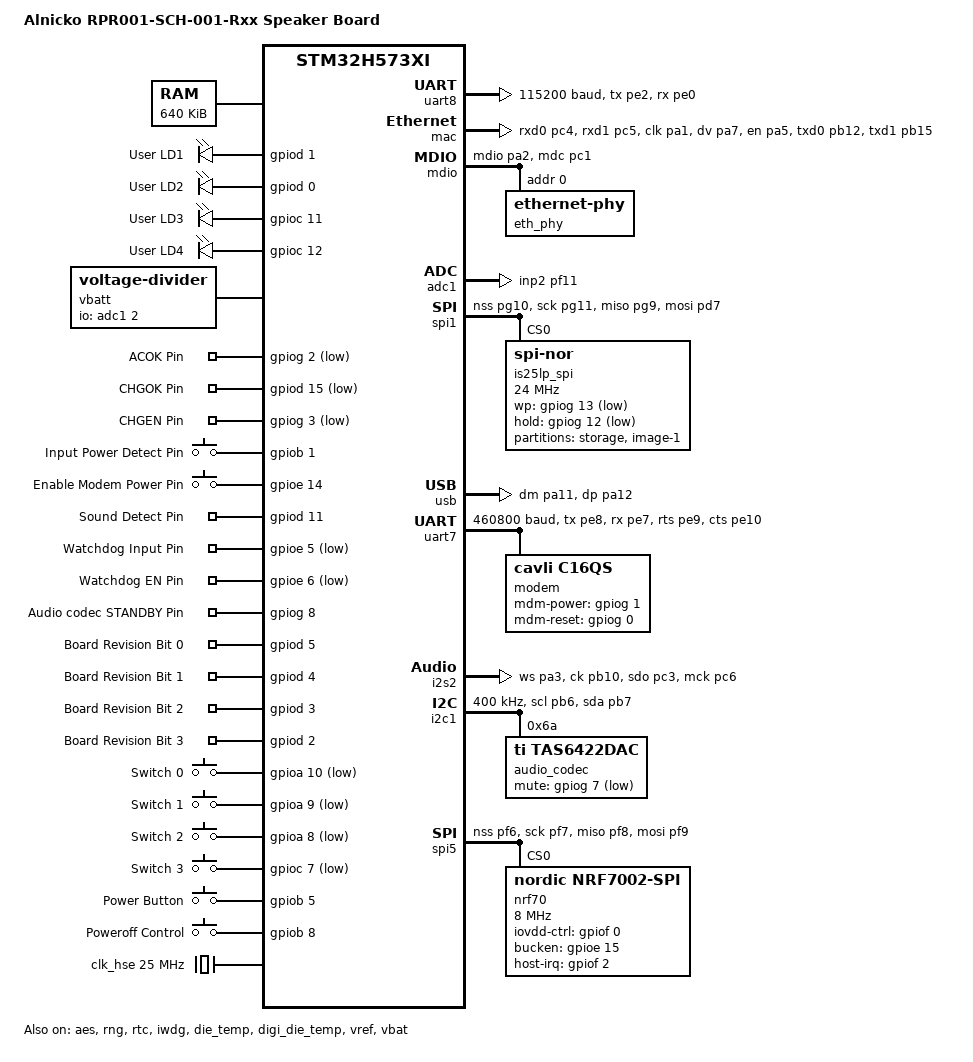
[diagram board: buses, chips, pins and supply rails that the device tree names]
/dts-v1/;
#include <st/h5/stm32h573Xi.dtsi> //STM32H573ZIT6
#include <zephyr/dt-bindings/input/input-event-codes.h>
#include <zephyr/dt-bindings/memory-attr/memory-attr.h>
#include <zephyr/dt-bindings/memory-attr/memory-attr-arm.h>

#include "stm32h573zitx-pinctrl.dtsi"

/ {
	model = "Alnicko RPR001-SCH-001-Rxx Speaker Board";
	compatible = "alnicko,speaker";

	/delete-node/ memory@20000000;
    /delete-node/ memory@20040000;
    /delete-node/ memory@20050000;

    sram: memory@20000000 {
			compatible = "zephyr,memory-region", "mmio-sram";
			reg = <0x20000000 DT_SIZE_K(640)>;
			zephyr,memory-region = "SRAM";
	};

	chosen {
		zephyr,console = &uart8;
		zephyr,shell-uart = &uart8;
		zephyr,sram = &sram;
		zephyr,flash = &flash0;
		zephyr,code-partition = &slot0_partition;
	};

	leds {
		compatible = "gpio-leds";
		led_1: led_1 {
			gpios = <&gpiod 1 GPIO_ACTIVE_HIGH>; //PD1
			label = "User LD1";
		};
		led_2: led_2 {
			gpios = <&gpiod 0 GPIO_ACTIVE_HIGH>; //PD0
			label = "User LD2";
		};
		led_3: led_3 {
			gpios = <&gpioc 11 GPIO_ACTIVE_HIGH>; //PC11
			label = "User LD3";
		};
		led_4: led_4 {
			gpios = <&gpioc 12 GPIO_ACTIVE_HIGH>; //PC12
			label = "User LD4";
		};
	};

	aliases { //leds
		led0 = &led_1;
		led1 = &led_2;
		led2 = &led_3;
		led3 = &led_4;
	}; 


	aliases {
		watchdog0 = &iwdg;
		die-temp0 = &die_temp;
		die-temp1 = &digi_die_temp;
		volt-sensor0 = &vref;
		volt-sensor1 = &vbat;
	};
};

&clk_hsi48 {
	status = "okay";
};

&clk_lse {
	status = "okay";
};

&clk_hse {
	clock-frequency = <DT_FREQ_M(25)>;
	status = "okay";
};

&pll {
	div-m = <5>;
	mul-n = <96>;
	div-p = <2>;
	div-q = <6>;
	div-r = <2>;
	clocks = <&clk_hse>;
	status = "okay";
};

&rcc {
	clocks = <&pll>;
	clock-frequency = <DT_FREQ_M(240)>;
	ahb-prescaler = <1>;
	apb1-prescaler = <2>;
	apb2-prescaler = <1>;
	apb3-prescaler = <1>;
};

&uart8 { //shell-uart
	pinctrl-0 = <&uart8_tx_pe2 &uart8_rx_pe0>;
	pinctrl-names = "default";
	current-speed = <115200>;
	status = "okay";
};

&aes {
	status = "okay";
};

&rng {
	status = "okay";
};

&mac {
	status = "okay";
	pinctrl-0 = <&eth_rxd0_pc4
		     &eth_rxd1_pc5
		     &eth_ref_clk_pa1
		     &eth_crs_dv_pa7
		     &eth_tx_en_pa5
		     &eth_txd0_pb12
		     &eth_txd1_pb15>;
		     pinctrl-names = "default";
};

&mdio {
	status = "okay";
	pinctrl-0 = <&eth_mdio_pa2 &eth_mdc_pc1>;
	pinctrl-names = "default";

	eth_phy: ethernet-phy@0 {
		compatible = "ethernet-phy";
		reg = <0x00>;
		status = "okay";
	};
};

&flash0 {
    partitions {
        compatible = "fixed-partitions";
        #address-cells = <1>;
        #size-cells = <1>;

        boot_partition: partition@0 {
            label = "mcuboot";
            reg = <0x00000000 DT_SIZE_K(64)>;
        };

        slot0_partition: partition@10000 {
            label = "image-0";
            reg = <0x00010000 DT_SIZE_K(1984)>; // 2048K - 64K
        };
    };
};

&rtc {
	clocks = <&rcc STM32_CLOCK_BUS_APB3 0x00200000>,
		 <&rcc STM32_SRC_LSE RTC_SEL(1)>;
	status = "okay";
};

/ {
	aliases {
		rtc = &rtc;
	};
};

&iwdg {
	status = "okay";
};

&gpdma1 {
	status = "okay";
};

&gpdma2 {
	status = "okay";
};

&adc1 {
	clocks = <&rcc STM32_CLOCK_BUS_AHB2 0x00000400>,
	         <&rcc STM32_SRC_HCLK ADCDAC_SEL(0)>;
	pinctrl-0 = <&adc1_inp2_pf11>;
	pinctrl-names = "default";
	st,adc-clock-source = <2>;
	st,adc-clock-source = <ASYNC>;
	st,adc-prescaler = <6>;
	status = "okay";
	vref-mv = <3180>;
};

&spi1 { //SPI Flash 
	pinctrl-0 = <&spi1_nss_pg10  &spi1_sck_pg11
		     &spi1_miso_pg9 &spi1_mosi_pd7>;
	pinctrl-names = "default";
	status = "okay";

	is25lp_spi: spi-nor-flash@0 {
		compatible = "jedec,spi-nor";
		reg = <0>;
		wp-gpios = <&gpiog 13 GPIO_ACTIVE_LOW>;
		hold-gpios = <&gpiog 12 GPIO_ACTIVE_LOW>;
		spi-max-frequency = <24000000>;
		size = <DT_SIZE_M(32)>; /* 32 Mbits */
		status = "okay";
		jedec-id = [9D 60 16];
		has-dpd;
		t-enter-dpd = <3000>;
		t-exit-dpd = <3000>;

		partitions {
            compatible = "fixed-partitions";
            #address-cells = <1>;
            #size-cells = <1>;

			storage_partition: partition@0 {
				label = "storage";
				reg = <0x00000000 DT_SIZE_K(2112)>; // 2048K + 64K
			};

			slot1_partition: partition@210000 {
				label = "image-1";
				reg = <0x00210000 DT_SIZE_K(1984)>; // 2048K - 64K
			};
        };
	};
};

zephyr_udc0: &usb {
	pinctrl-0 = <&usb_dm_pa11 &usb_dp_pa12>;
	pinctrl-names = "default";
	status = "okay";
};

&die_temp {
	status = "okay";
};

&digi_die_temp {
	status = "okay";
};

&vref {
	status = "okay";
};

&vbat {
	status = "okay";
};

/ {
	vbatt {
		compatible = "voltage-divider";
		io-channels = <&adc1 2>; //adc1_inp2_pf11
		output-ohms = <10000>;
		full-ohms = <(68000 + 10000)>;
	};
};

/  {
	charger_pins: charger_pins {
		compatible = "gpio-keys";

		acok_gpios: acok_gpios {
			gpios = <&gpiog 2 (GPIO_ACTIVE_LOW)>; //PG2
			label = "ACOK Pin";
		};

		chgok_gpios: chgok_gpios {
			gpios = <&gpiod 15 (GPIO_ACTIVE_LOW)>; //PD15
			label = "CHGOK Pin";
		};
		chgen_gpios: chgen_gpios {
			gpios = <&gpiog 3 (GPIO_ACTIVE_LOW)>; //PG3
			label = "CHGEN Pin";
		};
		input_power_gpios: input_power_gpios {
			gpios = <&gpiob 1 (GPIO_ACTIVE_HIGH)>; //PB1
			label = "Input Power Detect Pin";
		};
	};

	aliases { // charger_pins
		acok = &acok_gpios;
		chgok = &chgok_gpios;
		chgen = &chgen_gpios;
		inputp = &input_power_gpios;
	};
};

&uart7 {
	pinctrl-names = "default";
	status = "okay";
	
	current-speed = <460800>;
	hw-flow-control;
	pinctrl-0 = <&uart7_tx_pe8
				&uart7_rx_pe7
				&uart7_rts_pe9
				&uart7_cts_pe10>;

	modem: modem {
		compatible = "cavli,c16qs";
		status = "okay";
		mdm-power-gpios = <&gpiog 1 GPIO_ACTIVE_HIGH>; //PG1
		mdm-reset-gpios = <&gpiog 0 GPIO_ACTIVE_HIGH>; //PG0
	};
};

/ {
	modem_en_pin: modem_en_pin {
		compatible = "gpio-keys";

		modem_en_gpio: modem_en_gpio {
			gpios = <&gpioe 14 (GPIO_ACTIVE_HIGH)>; //PE14
			label = "Enable Modem Power Pin";
		};
	};
	aliases {
		modem = &modem;
		modemen = &modem_en_gpio;
	};
};

/  {
	microphone_pin: microphone_pin {
		compatible = "gpio-keys";

		microphone_gpio: microphone_gpio {
			gpios = <&gpiod 11 (GPIO_ACTIVE_HIGH)>; //PD11
			label = "Sound Detect Pin";
		};
	};

	aliases { // microphone_pin
		microphone = &microphone_gpio;
	};
};

/  {
	watchdog_pins: watchdog_pins {
		compatible = "gpio-keys";

		wdi_gpios: wdi_gpios {
			gpios = <&gpioe 5 (GPIO_ACTIVE_LOW)>; //PE5
			label = "Watchdog Input Pin";
		};

		wden_gpios: wden_gpios {
			gpios = <&gpioe 6 (GPIO_ACTIVE_LOW)>; //PE6

			label = "Watchdog EN Pin";
		};
	};

	aliases { //watchdog_pins
		wdi = &wdi_gpios;
		wden = &wden_gpios;
	};
};

&pll3 {
	div-m = <20>;
	mul-n = <147>;
	div-q = <3>;
	
	div-r = <3>;
	div-p = <3>;

	fracn = <0>;

	clocks = <&clk_hse>;
	status = "okay";
};

&i2s2 {
    mck-enabled;
    pinctrl-0 = <&i2s2_ws_pa3 &i2s2_ck_pb10 &i2s2_sdo_pc3 &i2s2_mck_pc6>;
    pinctrl-names = "default";
    status = "okay";
	clocks = <&rcc STM32_CLOCK(APB1, 14U)>,
             <&rcc STM32_SRC_PLL3_P SPI2_SEL(2)>;
};

/ {
    aliases {
        i2s-codec-tx = &i2s2;
    };
};

&i2c1 {
	pinctrl-0 = <&i2c1_scl_pb6 &i2c1_sda_pb7>;
	pinctrl-names = "default";
	clock-frequency = <I2C_BITRATE_FAST>;
	status = "okay";

	audio_codec: tas6422dac@6a {
        compatible = "ti,tas6422dac";
        reg = <0x6a>;
        mute-gpios = <&gpiog 7 GPIO_ACTIVE_LOW>; //PG7
		status = "okay";
    };
};

/  {
	audio_codec_gpio: audio_codec_gpio {
		compatible = "gpio-keys";

		codec_standby_gpios: codec_standby_gpios {
			gpios = <&gpiog 8 (GPIO_ACTIVE_HIGH)>; //PG8
			label = "Audio codec STANDBY Pin";
		};
	};

	aliases { //audio_codec_gpio
		codec-standby-pin = &codec_standby_gpios;
	};
};

/ {
	board_rev_pins: board_rev_pins {
		compatible = "gpio-keys";

		rev0_gpio: rev0_gpio {
			gpios = <&gpiod 5 (GPIO_PULL_DOWN | GPIO_ACTIVE_HIGH)>; // PD5
			label = "Board Revision Bit 0";
		};

		rev1_gpio: rev1_gpio {
			gpios = <&gpiod 4 (GPIO_PULL_DOWN | GPIO_ACTIVE_HIGH)>; // PD4
			label = "Board Revision Bit 1";
		};

		rev2_gpio: rev2_gpio {
			gpios = <&gpiod 3 (GPIO_PULL_DOWN | GPIO_ACTIVE_HIGH)>; // PD3
			label = "Board Revision Bit 2";
		};

		rev3_gpio: rev3_gpio {
			gpios = <&gpiod 2 (GPIO_PULL_DOWN | GPIO_ACTIVE_HIGH)>; // PD2
			label = "Board Revision Bit 3";
		};
	};

	aliases { //board_rev_pins
		rev0 = &rev0_gpio;
		rev1 = &rev1_gpio;
		rev2 = &rev2_gpio;
		rev3 = &rev3_gpio;
	};
};


/ {
	switches: switches {
		compatible = "gpio-keys";

		switch0: switch0 {
			gpios = <&gpioa 10 (GPIO_PULL_UP | GPIO_ACTIVE_LOW)>; //PA10
			label = "Switch 0";
		};
		switch1: switch1 {
			gpios = <&gpioa 9 (GPIO_PULL_UP | GPIO_ACTIVE_LOW)>; //PA9
			label = "Switch 1";
		};
		switch2: switch2 {
			gpios = <&gpioa 8 (GPIO_PULL_UP | GPIO_ACTIVE_LOW)>; //PA8
			label = "Switch 2";
		};
		switch3: switch3 {
			gpios = <&gpioc 7 (GPIO_PULL_UP | GPIO_ACTIVE_LOW)>; //PC7
			label = "Switch 3";
		};
	};

	aliases { //switches
		switch0 = &switch0;
		switch1 = &switch1;
		switch2 = &switch2;
		switch3 = &switch3;
	};
};

/ {
	power_sw: power_sw {
		compatible = "gpio-keys";
		power_sw_gpio: power_sw_gpio {
			gpios = <&gpiob 5 GPIO_ACTIVE_HIGH>; //PB5
			label = "Power Button";
		};

		poweroff_bt_gpio: poweroff_bt_gpio {

			gpios = <&gpiob 8 GPIO_ACTIVE_HIGH>; //PB8
			label = "Poweroff Control";
		};
	};


	aliases { //power
		power-sw = &power_sw_gpio;
		poweroff-gpio = &poweroff_bt_gpio;
	};
};

/ {
  chosen {
    zephyr,wifi = &nrf70_wlan;
  };
};

&spi5 { //SPI wifi 
	pinctrl-0 = <&spi5_nss_pf6  &spi5_sck_pf7
		     &spi5_miso_pf8 &spi5_mosi_pf9>;
	pinctrl-names = "default";
	status = "okay";
	nrf70: nrf7002@0 {
		compatible = "nordic,nrf7002-spi";
		status = "okay";
		reg = <0>;
		spi-max-frequency = <DT_FREQ_M(8)>;

		iovdd-ctrl-gpios = <&gpiof 0 GPIO_ACTIVE_HIGH>;
		bucken-gpios = <&gpioe 15 GPIO_ACTIVE_HIGH>;
		host-irq-gpios = <&gpiof 2 GPIO_ACTIVE_HIGH>;

		wifi-max-tx-pwr-2g-dsss = <21>;
		wifi-max-tx-pwr-2g-mcs0 = <16>;
		wifi-max-tx-pwr-2g-mcs7 = <16>;

		wifi-max-tx-pwr-5g-low-mcs0 = <9>;
		wifi-max-tx-pwr-5g-low-mcs7 = <9>;
		wifi-max-tx-pwr-5g-mid-mcs0 = <11>;
		wifi-max-tx-pwr-5g-mid-mcs7 = <11>;
		wifi-max-tx-pwr-5g-high-mcs0 = <13>;
		wifi-max-tx-pwr-5g-high-mcs7 = <13>;	

		nrf70_wlan: nrf70_wlan {
			compatible = "nordic,wlan";
		};
	};
};

